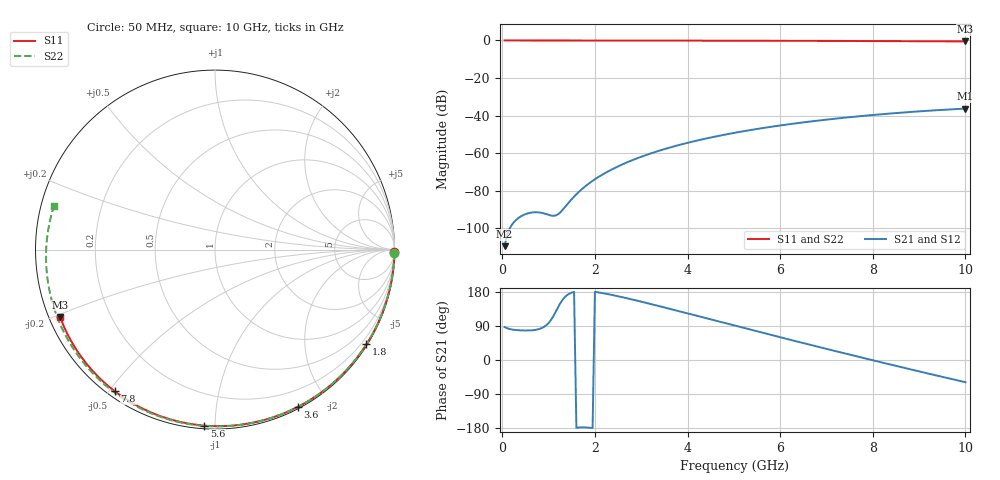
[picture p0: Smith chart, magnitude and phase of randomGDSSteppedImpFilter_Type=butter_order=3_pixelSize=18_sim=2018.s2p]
! freq	dB(S11)	phase(S11)	dB(S12)	phase(S12)
!  dB(S21)	phase(S21)	dB(S22)	phase(S22)
!S-par simulation data
#  GHz  S  DB  R 50
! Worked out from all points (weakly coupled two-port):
!   200 points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, 50 MHz to 10 GHz, reference 50 ohm
!   highest |S21| = -36.32 dB at 10 GHz (marker M1); lowest = -109.6 dB at 50 MHz (marker M2)
!   lowest |S11| = -0.5 dB at 10 GHz (marker M3), VSWR 33.06, Z = 1.58 - j10.4 ohm
!   |S11| at or under -10 dB: nowhere
!   |S22| runs from -0.6 to 0.0 dB; largest |S21 - S12| = 0
!   S11 on the Smith chart (normalised r, x): 50 MHz: open; 1.8 GHz: 0.03, -3.48; 3.6 GHz: 0.02, -1.65; 5.6 GHz: 0.02, -0.94; 7.8 GHz: 0.02, -0.52; 10 GHz: 0.03, -0.21
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0.05  -0.00 -0.9  -109.61 86.8  -109.61 86.8  -0.00 -1.1
0.8  -0.02 -14.4  -91.66 81.9  -91.66 81.9  -0.02 -17.0
1.65  -0.04 -29.4  -80.75 -178.2  -80.75 -178.2  -0.04 -34.6
1.7  -0.04 -30.3  -79.63 -177.8  -79.63 -177.8  -0.05 -35.7
1.75  -0.04 -31.1  -78.56 -177.7  -78.56 -177.7  -0.05 -36.7
1.8  -0.04 -32.0  -77.55 -177.9  -77.55 -177.9  -0.05 -37.7
2.1  -0.05 -37.2  -72.39 177.9  -72.39 177.9  -0.06 -43.8
2.5  -0.06 -44.1  -67.09 168.3  -67.09 168.3  -0.07 -51.8
2.9  -0.07 -50.8  -62.89 156.9  -62.89 156.9  -0.08 -59.8
3.4  -0.08 -59.1  -58.65 141.8  -58.65 141.8  -0.09 -69.5
3.6  -0.08 -62.3  -57.18 135.6  -57.18 135.6  -0.10 -73.3
4.3  -0.10 -73.6  -52.80 113.6  -52.80 113.6  -0.12 -86.5
5.05  -0.13 -85.2  -49.05 89.9  -49.05 89.9  -0.16 -100.4
5.6  -0.15 -93.5  -46.77 72.6  -46.77 72.6  -0.18 -110.3
6.15  -0.18 -101.6  -44.78 55.5  -44.78 55.5  -0.22 -120.2
6.7  -0.21 -109.6  -43.04 38.6  -43.04 38.6  -0.26 -130.1
7.25  -0.25 -117.4  -41.51 21.8  -41.51 21.8  -0.30 -140.0
7.8  -0.29 -125.2  -40.16 5.3  -40.16 5.3  -0.35 -150.2
8.35  -0.34 -133.0  -38.98 -11.1  -38.98 -11.1  -0.41 -160.6
9.2  -0.43 -145.0  -37.45 -35.8  -37.45 -35.8  -0.52 -177.7
9.6  -0.48 -150.7  -36.84 -47.3  -36.84 -47.3  -0.57 173.8
10  -0.53 -156.5  -36.32 -58.5  -36.32 -58.5  -0.63 164.8
